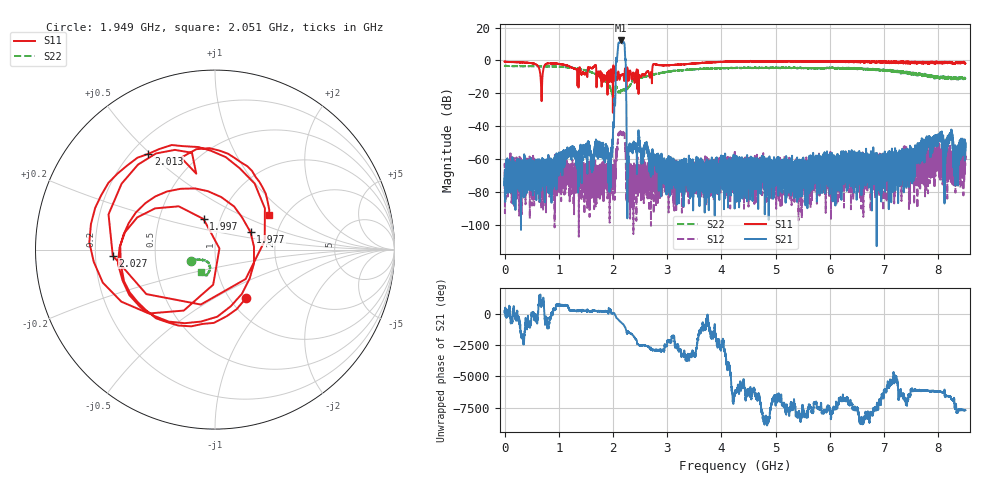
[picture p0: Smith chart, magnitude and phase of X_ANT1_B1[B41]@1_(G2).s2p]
#  HZ  S  RI  R  50.00
! Rohde & Schwarz Vector Network Analyzer
! Rohde-Schwarz,ZNBT8-20Port,1318700624101681,3.50
! Created: UTC 7/15/2025, 2:09:45 PM
! freq[Hz]  re:S1010  im:S1010  re:S0610  im:S0610  re:S1006  im:S1006  re:S66  im:S66
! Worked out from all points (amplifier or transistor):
!   8500 points, 1 MHz to 8.5 GHz, reference 50 ohm
!   highest |S21| = 12.1 dB at 2.144 GHz (marker M1)
!   |S21| within 3 dB of that: 2.095 GHz to 2.215 GHz (119.9 MHz wide, 5.56 % of centre)
!   unconditionally stable (mu >= 1): start of sweep to end of sweep
!   at 1.417 GHz: K = 779566.93, MAG = -55.5 dB, |S12| = -70.5 dB
!   at 4.251 GHz: K = 153037.25, MAG = -55.3 dB, |S12| = -64.7 dB
!   at 8.5 GHz: K = 89526.26, MAG = -45.9 dB, |S12| = -64.1 dB
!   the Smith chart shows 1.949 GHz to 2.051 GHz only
!   S11 on the Smith chart (normalised r, x): 1.949 GHz: 1.18, -0.72; 1.977 GHz: 1.46, +0.30; 1.997 GHz: 0.83, +0.29; 2.013 GHz: 0.27, +0.49; 2.027 GHz: 0.27, -0.03; 2.051 GHz: 1.66, +0.73
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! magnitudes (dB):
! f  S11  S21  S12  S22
! 1 MHz  -0.8  -75.7  -78.2  -3.3
! 1.418 GHz  -8.6  -61.1  -65.6  -5.5
! 1.949 GHz  -9.8  -58.6  -67.4  -16.5
! 1.977 GHz  -13.1  -55.1  -77.1  -19.6
! 1.997 GHz  -14.8  -47.9  -74.5  -21.7
! 2.013 GHz  -3.7  -39.3  -65.8  -20.3
! 2.027 GHz  -4.9  -22.9  -67.5  -17.4
! 2.051 GHz  -8.9  -9.1  -65.0  -16.6
! 2.093 GHz  -7.2  8.4  -47.7  -19.2
! 2.144 GHz  -8.9  12.1  -43.5  -18.6
! 2.205 GHz  -12.1  10.7  -45.0  -17.4
! 2.292 GHz  -11.2  -55.5  -68.5  -16.3
! 2.457 GHz  -5.9  -50.4  -71.3  -10.4
! 2.834 GHz  -2.8  -64.8  -73.3  -8.0
! 4.251 GHz  -0.7  -65.6  -64.7  -4.8
! 5.667 GHz  -0.4  -60.8  -64.7  -4.8
! 7.084 GHz  -1.0  -62.7  -84.0  -6.3
! 8.014 GHz  -1.3  -46.7  -51.0  -10.6
! 8.133 GHz  -1.3  -53.2  -63.5  -10.9
! 8.228 GHz  -1.6  -45.4  -58.4  -10.8
! 8.324 GHz  -1.4  -53.3  -58.3  -10.7
! 8.5 GHz  -1.8  -50.9  -64.1  -10.9
